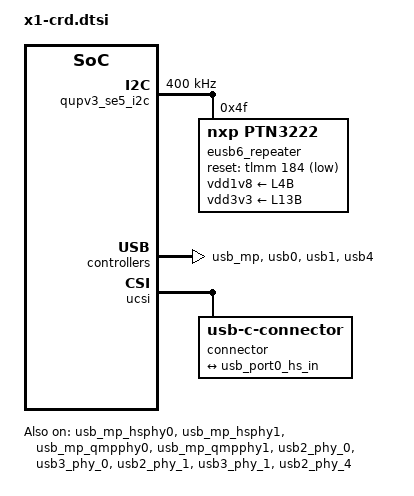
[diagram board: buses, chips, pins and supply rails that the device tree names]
// SPDX-License-Identifier: BSD-3-Clause
/*
 * Copyright (c) Qualcomm Technologies, Inc. and/or its subsidiaries.
 */

#include <dt-bindings/gpio/gpio.h>

&tlmm {
	eusb6_reset_n: eusb6-reset-n-state {
		pins = "gpio184";
		function = "gpio";
		drive-strength = <2>;
		bias-disable;
		output-low;
	};
};

&qupv3_se5_i2c {
	clock-frequency = <400000>;

	status = "okay";

	eusb6_repeater: redriver@4f {
		compatible = "nxp,ptn3222";
		reg = <0x4f>;

		vdd1v8-supply = <&L4B>;
		vdd3v3-supply = <&L13B>;

		reset-gpios = <&tlmm 184 GPIO_ACTIVE_LOW>;

		pinctrl-0 = <&eusb6_reset_n>;
		pinctrl-names = "default";

		#phy-cells = <0>;
	};
};

&usb_mp_hsphy0 {
	status = "okay";
};

&usb_mp_hsphy1 {
	phys = <&eusb6_repeater>;
	status = "okay";
};

&usb_mp_qmpphy0 {
	status = "okay";
};

&usb_mp_qmpphy1 {
	status = "okay";
};

&usb_mp {
	status = "okay";
};

&smb2360_0_eusb2_repeater {
	vdd18-supply = <&L3D>;
	vdd3-supply = <&L2B>;
};

&usb2_phy_0 {
	phys = <&smb2360_0_eusb2_repeater>;
	status = "okay";
};

&usb3_phy_0 {
	status = "okay";
};

&usb0 {
	status = "okay";
	usb-role-switch;
};

&ucsi {
	/* Left-side front port */
	connector {
		compatible = "usb-c-connector";
		power-role = "dual";
		data-role = "dual";

		ports {
			#address-cells = <1>;
			#size-cells = <0>;

			port@0 {
				reg = <0>;

				pmic_glink_port0_hs_in: endpoint {
					remote-endpoint = <&usb_port0_hs_in>;
				};
			};
		};
	};

};

&usb_port0_hs_in {
	remote-endpoint = <&pmic_glink_port0_hs_in>;
};

&smb2360_1_eusb2_repeater {
	vdd18-supply = <&L3D>;
	vdd3-supply = <&L14B>;
};

&usb2_phy_1 {
	phys = <&smb2360_1_eusb2_repeater>;
	status = "okay";
};

&usb3_phy_1 {
	status = "okay";
};

&usb1 {
	status = "okay";
};

&usb2_phy_4 {
	status = "okay";
};

&usb4 {
	status = "okay";
};
